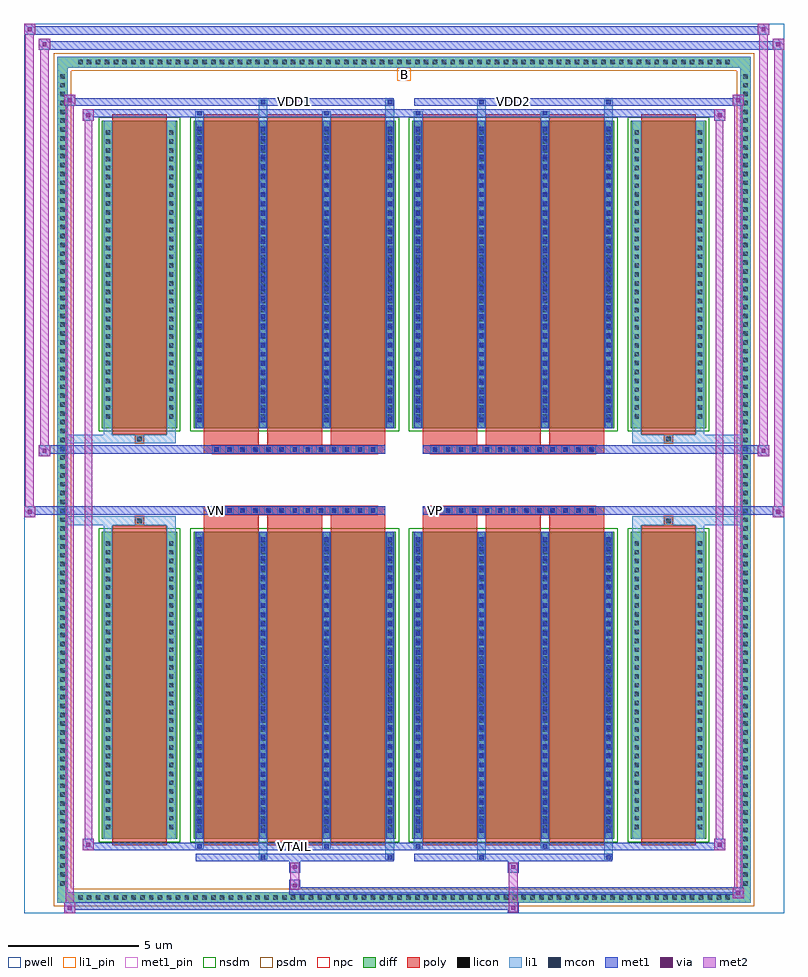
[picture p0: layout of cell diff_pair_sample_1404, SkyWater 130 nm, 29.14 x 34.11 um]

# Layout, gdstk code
import gdstk
lib = gdstk.Library(unit=1e-6, precision=5e-09)
def R(c, l, rs):  # rectangles x0, y0, x1, y1
    for r in rs: c.add(gdstk.rectangle(r[:2], r[2:], *l))
def A(c, l, x, y, w, h, nx, ny, dx, dy):  # array of equal rectangles
    R(c, l, [(x+i*dx, y+j*dy, x+i*dx+w, y+j*dy+h) for i in range(nx) for j in range(ny)])
def P(c, l, *ps):  # polygons
    for p in ps: c.add(gdstk.Polygon(p, *l))
pwell = (64, 44)
diff = (65, 20)
poly = (66, 20)
licon = (66, 44)
li1_pin = (67, 16)
li1 = (67, 20)
mcon = (67, 44)
met1_pin = (68, 16)
met1 = (68, 20)
via = (68, 44)
met2 = (69, 20)
nsdm = (93, 44)
psdm = (94, 20)
npc = (95, 20)

diff_pair_sample_1404 = lib.new_cell('diff_pair_sample_1404')
R(diff_pair_sample_1404, pwell, [(-14.57,-16.62,14.57,17.49), (-11.89,-14.81,-0.01,-0.805), (0.01,-14.81,11.89,-0.805), (-11.89,0.805,-0.01,14.81), (0.01,0.805,11.89,14.81)])
A(diff_pair_sample_1404, diff, -12.615, -16.22, 0.41, 0.41, 74, 2, 0.34, 32.03)
A(diff_pair_sample_1404, diff, -13.3, -15.675, 0.41, 0.41, 1, 92, 0, 0.34)
A(diff_pair_sample_1404, diff, 12.89, -15.675, 0.41, 0.41, 1, 92, 0, 0.34)
R(diff_pair_sample_1404, diff, [(-12.615,-16.22,12.615,-15.81), (-13.3,-15.675,-12.89,15.675), (12.89,-15.675,13.3,15.675), (-11.58,-13.765,-8.7,-1.985), (-8.06,-13.765,-0.32,-1.985), (0.32,-13.765,8.06,-1.985), (8.7,-13.765,11.58,-1.985), (-11.58,1.985,-8.7,13.765), (-8.06,1.985,-0.32,13.765), (0.32,1.985,8.06,13.765), (8.7,1.985,11.58,13.765), (-12.615,15.81,12.615,16.22)])
P(diff_pair_sample_1404, diff, [(13.3,16.22),(-13.3,16.22),(-13.3,-15.81),(-12.89,-15.81),(-12.89,15.81),(12.89,15.81),(12.89,-15.81),(-12.89,-15.81),(-13.3,-15.81),(-13.3,-16.22),(13.3,-16.22)])
A(diff_pair_sample_1404, poly, -7.67, -14.015, 2.1, 12.28, 3, 2, 2.43, 15.75)
A(diff_pair_sample_1404, poly, 0.71, -14.015, 2.1, 12.28, 3, 2, 2.43, 15.75)
A(diff_pair_sample_1404, poly, -7.67, -1.735, 2.1, 0.4, 3, 2, 2.43, 3.07)
A(diff_pair_sample_1404, poly, 0.71, -1.735, 2.1, 0.4, 3, 2, 2.43, 3.07)
A(diff_pair_sample_1404, poly, -7.355, -1.335, 0.33, 0.33, 13, 2, 0.5, 2.34)
A(diff_pair_sample_1404, poly, 1.025, -1.335, 0.33, 0.33, 13, 2, 0.5, 2.34)
R(diff_pair_sample_1404, poly, [(-11.19,-14.015,-9.09,-1.735), (9.09,-14.015,11.19,-1.735), (-10.305,-1.735,-9.975,-1.405), (-10.305,-1.735,-9.975,-1.405), (9.975,-1.735,10.305,-1.405), (9.975,-1.735,10.305,-1.405), (-7.67,-1.335,-0.71,-1.005), (0.71,-1.335,7.67,-1.005), (-7.67,1.005,-0.71,1.335), (0.71,1.005,7.67,1.335), (-10.305,1.405,-9.975,1.735), (-10.305,1.405,-9.975,1.735), (9.975,1.405,10.305,1.735), (9.975,1.405,10.305,1.735), (-11.19,1.735,-9.09,14.015), (9.09,1.735,11.19,14.015)])
A(diff_pair_sample_1404, licon, -12.495, -16.1, 0.17, 0.17, 74, 2, 0.34, 32.03)
A(diff_pair_sample_1404, licon, -13.18, -15.555, 0.17, 0.17, 1, 92, 0, 0.34)
A(diff_pair_sample_1404, licon, 13.01, -15.555, 0.17, 0.17, 1, 92, 0, 0.34)
A(diff_pair_sample_1404, licon, -11.44, -13.4, 0.17, 0.17, 1, 33, 0, 0.34)
A(diff_pair_sample_1404, licon, -9.01, -13.4, 0.17, 0.17, 1, 33, 0, 0.34)
A(diff_pair_sample_1404, licon, -7.92, -13.4, 0.17, 0.17, 4, 33, 2.43, 0.34)
A(diff_pair_sample_1404, licon, 0.46, -13.4, 0.17, 0.17, 4, 33, 2.43, 0.34)
A(diff_pair_sample_1404, licon, 8.84, -13.4, 0.17, 0.17, 1, 33, 0, 0.34)
A(diff_pair_sample_1404, licon, 11.27, -13.4, 0.17, 0.17, 1, 33, 0, 0.34)
A(diff_pair_sample_1404, licon, -7.275, -1.255, 0.17, 0.17, 13, 2, 0.5, 2.34)
A(diff_pair_sample_1404, licon, 1.105, -1.255, 0.17, 0.17, 13, 2, 0.5, 2.34)
A(diff_pair_sample_1404, licon, -11.44, 2.35, 0.17, 0.17, 1, 33, 0, 0.34)
A(diff_pair_sample_1404, licon, -9.01, 2.35, 0.17, 0.17, 1, 33, 0, 0.34)
A(diff_pair_sample_1404, licon, -7.92, 2.35, 0.17, 0.17, 4, 33, 2.43, 0.34)
A(diff_pair_sample_1404, licon, 0.46, 2.35, 0.17, 0.17, 4, 33, 2.43, 0.34)
A(diff_pair_sample_1404, licon, 8.84, 2.35, 0.17, 0.17, 1, 33, 0, 0.34)
A(diff_pair_sample_1404, licon, 11.27, 2.35, 0.17, 0.17, 1, 33, 0, 0.34)
R(diff_pair_sample_1404, licon, [(-10.225,-1.655,-10.055,-1.485), (10.055,-1.655,10.225,-1.485), (-10.225,1.485,-10.055,1.655), (10.055,1.485,10.225,1.655)])
R(diff_pair_sample_1404, li1_pin, [(-0.25,15.31,0.25,15.81)])
A(diff_pair_sample_1404, li1, -12.575, -16.18, 0.33, 0.33, 74, 2, 0.34, 32.03)
A(diff_pair_sample_1404, li1, -13.26, -15.635, 0.33, 0.33, 1, 92, 0, 0.34)
A(diff_pair_sample_1404, li1, 12.93, -15.635, 0.33, 0.33, 1, 92, 0, 0.34)
A(diff_pair_sample_1404, li1, -8, -13.765, 0.33, 11.78, 4, 2, 2.43, 15.75)
A(diff_pair_sample_1404, li1, 0.38, -13.765, 0.33, 11.78, 4, 2, 2.43, 15.75)
A(diff_pair_sample_1404, li1, -7.92, -13.54, 0.17, 0.17, 4, 32, 2.43, 0.36)
A(diff_pair_sample_1404, li1, -7.92, -13.54, 0.17, 11.33, 4, 2, 2.43, 15.75)
A(diff_pair_sample_1404, li1, 0.46, -13.54, 0.17, 0.17, 4, 32, 2.43, 0.36)
A(diff_pair_sample_1404, li1, 0.46, -13.54, 0.17, 11.33, 4, 2, 2.43, 15.75)
A(diff_pair_sample_1404, li1, -11.52, -13.48, 0.33, 0.33, 1, 33, 0, 0.34)
A(diff_pair_sample_1404, li1, -9.09, -13.48, 0.33, 0.33, 1, 33, 0, 0.34)
A(diff_pair_sample_1404, li1, -8, -13.48, 0.33, 0.33, 4, 33, 2.43, 0.34)
A(diff_pair_sample_1404, li1, 0.38, -13.48, 0.33, 0.33, 4, 33, 2.43, 0.34)
A(diff_pair_sample_1404, li1, 8.76, -13.48, 0.33, 0.33, 1, 33, 0, 0.34)
A(diff_pair_sample_1404, li1, 11.19, -13.48, 0.33, 0.33, 1, 33, 0, 0.34)
A(diff_pair_sample_1404, li1, -7.355, -1.335, 0.33, 0.33, 13, 2, 0.5, 2.34)
A(diff_pair_sample_1404, li1, 1.025, -1.335, 0.33, 0.33, 13, 2, 0.5, 2.34)
A(diff_pair_sample_1404, li1, -7.92, 2.21, 0.17, 0.17, 4, 32, 2.43, 0.36)
A(diff_pair_sample_1404, li1, 0.46, 2.21, 0.17, 0.17, 4, 32, 2.43, 0.36)
A(diff_pair_sample_1404, li1, -11.52, 2.27, 0.33, 0.33, 1, 33, 0, 0.34)
A(diff_pair_sample_1404, li1, -9.09, 2.27, 0.33, 0.33, 1, 33, 0, 0.34)
A(diff_pair_sample_1404, li1, -8, 2.27, 0.33, 0.33, 4, 33, 2.43, 0.34)
A(diff_pair_sample_1404, li1, 0.38, 2.27, 0.33, 0.33, 4, 33, 2.43, 0.34)
A(diff_pair_sample_1404, li1, 8.76, 2.27, 0.33, 0.33, 1, 33, 0, 0.34)
A(diff_pair_sample_1404, li1, 11.19, 2.27, 0.33, 0.33, 1, 33, 0, 0.34)
R(diff_pair_sample_1404, li1, [(-13.3,-16.22,-12.89,-15.81), (-13.3,-16.22,-12.89,-15.81), (-12.89,-16.22,12.89,-15.81), (12.89,-16.22,13.3,-15.81), (12.89,-16.22,13.3,-15.81), (-13.3,-15.81,-12.89,15.81), (12.89,-15.81,13.3,15.81), (-5.57,-14.57,-5.24,-13.765), (-5.49,-14.57,-5.32,-14.4), (-0.71,-14.57,-0.38,-13.765), (-0.63,-14.57,-0.46,-14.4), (2.81,-14.57,3.14,-13.765), (2.89,-14.57,3.06,-14.4), (7.67,-14.57,8,-13.765), (7.75,-14.57,7.92,-14.4), (-8,-14.14,-7.67,-13.765), (-7.92,-14.14,-7.75,-13.97), (-3.14,-14.14,-2.81,-13.765), (-3.06,-14.14,-2.89,-13.97), (0.38,-14.14,0.71,-13.765), (0.46,-14.14,0.63,-13.97), (5.24,-14.14,5.57,-13.765), (5.32,-14.14,5.49,-13.97), (-11.52,-13.765,-11.19,-1.985), (-9.09,-13.765,-8.76,-1.985), (8.76,-13.765,9.09,-1.985), (11.19,-13.765,11.52,-1.985), (-11.52,-1.985,-11.19,-1.405), (-9.09,-1.985,-8.76,-1.405), (8.76,-1.985,9.09,-1.405), (11.19,-1.985,11.52,-1.405), (-13.3,-1.735,-10.305,-1.405), (-11.52,-1.735,-10.305,-1.405), (-10.305,-1.735,-9.975,-1.405), (-9.975,-1.735,-8.76,-1.405), (8.76,-1.735,9.975,-1.405), (9.975,-1.735,10.305,-1.405), (9.975,-1.735,13.3,-1.405), (10.305,-1.735,11.52,-1.405), (-13.3,1.405,-10.305,1.735), (-11.52,1.405,-10.305,1.735), (-11.52,1.405,-11.19,1.985), (-10.305,1.405,-9.975,1.735), (-9.975,1.405,-8.76,1.735), (-9.09,1.405,-8.76,1.985), (8.76,1.405,9.975,1.735), (8.76,1.405,9.09,1.985), (9.975,1.405,10.305,1.735), (9.975,1.405,13.3,1.735), (10.305,1.405,11.52,1.735), (11.19,1.405,11.52,1.985), (-11.52,1.985,-11.19,13.765), (-9.09,1.985,-8.76,13.765), (8.76,1.985,9.09,13.765), (11.19,1.985,11.52,13.765), (-8,13.765,-7.67,14.14), (-5.57,13.765,-5.24,14.57), (-3.14,13.765,-2.81,14.14), (-0.71,13.765,-0.38,14.57), (0.38,13.765,0.71,14.14), (2.81,13.765,3.14,14.57), (5.24,13.765,5.57,14.14), (7.67,13.765,8,14.57), (-7.92,13.97,-7.75,14.14), (-3.06,13.97,-2.89,14.14), (0.46,13.97,0.63,14.14), (5.32,13.97,5.49,14.14), (-5.49,14.4,-5.32,14.57), (-0.63,14.4,-0.46,14.57), (2.89,14.4,3.06,14.57), (7.75,14.4,7.92,14.57), (-13.3,15.81,-12.89,16.22), (-13.3,15.81,-12.89,16.22), (-12.89,15.81,12.89,16.22), (12.89,15.81,13.3,16.22), (12.89,15.81,13.3,16.22)])
A(diff_pair_sample_1404, mcon, -7.92, -13.54, 0.17, 0.17, 4, 32, 2.43, 0.36)
A(diff_pair_sample_1404, mcon, 0.46, -13.54, 0.17, 0.17, 4, 32, 2.43, 0.36)
A(diff_pair_sample_1404, mcon, -7.275, -1.255, 0.17, 0.17, 13, 2, 0.5, 2.34)
A(diff_pair_sample_1404, mcon, 1.105, -1.255, 0.17, 0.17, 13, 2, 0.5, 2.34)
A(diff_pair_sample_1404, mcon, -7.92, 2.21, 0.17, 0.17, 4, 32, 2.43, 0.36)
A(diff_pair_sample_1404, mcon, 0.46, 2.21, 0.17, 0.17, 4, 32, 2.43, 0.36)
R(diff_pair_sample_1404, mcon, [(-5.49,-14.57,-5.32,-14.4), (-0.63,-14.57,-0.46,-14.4), (2.89,-14.57,3.06,-14.4), (7.75,-14.57,7.92,-14.4), (-7.92,-14.14,-7.75,-13.97), (-3.06,-14.14,-2.89,-13.97), (0.46,-14.14,0.63,-13.97), (5.32,-14.14,5.49,-13.97), (-7.92,13.97,-7.75,14.14), (-3.06,13.97,-2.89,14.14), (0.46,13.97,0.63,14.14), (5.32,13.97,5.49,14.14), (-5.49,14.4,-5.32,14.57), (-0.63,14.4,-0.46,14.57), (2.89,14.4,3.06,14.57), (7.75,14.4,7.92,14.57)])
R(diff_pair_sample_1404, met1_pin, [(-4.325,-14.18,-4.055,-13.91), (-7.325,-1.295,-7.055,-1.025), (1.055,-1.295,1.325,-1.025), (-4.325,14.36,-4.055,14.63), (4.055,14.36,4.325,14.63)])
A(diff_pair_sample_1404, met1, -7.98, -13.765, 0.29, 11.78, 4, 2, 2.43, 15.75)
A(diff_pair_sample_1404, met1, 0.4, -13.765, 0.29, 11.78, 4, 2, 2.43, 15.75)
A(diff_pair_sample_1404, met1, -7.98, -13.6, 0.29, 0.29, 4, 32, 2.43, 0.36)
A(diff_pair_sample_1404, met1, 0.4, -13.6, 0.29, 0.29, 4, 32, 2.43, 0.36)
A(diff_pair_sample_1404, met1, -7.335, -1.315, 0.29, 0.29, 13, 2, 0.5, 2.34)
A(diff_pair_sample_1404, met1, 1.045, -1.315, 0.29, 0.29, 13, 2, 0.5, 2.34)
A(diff_pair_sample_1404, met1, -7.98, 2.15, 0.29, 0.29, 4, 32, 2.43, 0.36)
A(diff_pair_sample_1404, met1, 0.4, 2.15, 0.29, 0.29, 4, 32, 2.43, 0.36)
R(diff_pair_sample_1404, met1, [(-13.03,-16.62,-12.6,-16.19), (3.975,-16.62,4.405,-16.19), (-13.03,-16.48,4.405,-16.19), (12.6,-16.05,13.03,-15.62), (-4.405,-15.91,13.03,-15.62), (-4.405,-15.77,-3.975,-15.34), (-4.405,-15.06,-3.975,-14.63), (3.975,-15.06,4.405,-14.63), (-7.98,-14.63,-0.4,-14.34), (-5.55,-14.63,-5.26,-14.34), (-0.69,-14.63,-0.4,-14.34), (0.4,-14.63,7.98,-14.34), (2.83,-14.63,3.12,-14.34), (7.69,-14.63,7.98,-14.34), (-12.32,-14.2,-11.89,-13.77), (-12.32,-14.2,-7.98,-13.91), (-7.98,-14.2,-7.69,-13.91), (-7.98,-14.2,-0.4,-13.91), (-3.12,-14.2,-2.83,-13.91), (-0.4,-14.2,0.4,-13.91), (0.4,-14.2,0.69,-13.91), (0.4,-14.2,7.98,-13.91), (5.26,-14.2,5.55,-13.91), (7.98,-14.2,12.32,-13.91), (11.89,-14.2,12.32,-13.77), (-14.57,-1.435,-14.14,-1.005), (14.14,-1.435,14.57,-1.005), (-14.57,-1.335,-0.71,-1.005), (-7.67,-1.335,-0.71,-1.005), (0.71,-1.335,7.67,-1.005), (0.71,-1.335,14.57,-1.005), (-14,0.905,-13.57,1.335), (13.57,0.905,14,1.335), (-14,1.005,-7.67,1.335), (-7.67,1.005,-0.71,1.335), (0.71,1.005,7.67,1.335), (7.67,1.005,14,1.335), (-12.32,13.77,-11.89,14.2), (11.89,13.77,12.32,14.2), (-12.32,13.91,-7.98,14.2), (-7.98,13.91,-7.69,14.2), (-7.98,13.91,-0.4,14.2), (-3.12,13.91,-2.83,14.2), (-0.4,13.91,0.4,14.2), (0.4,13.91,0.69,14.2), (0.4,13.91,7.98,14.2), (5.26,13.91,5.55,14.2), (7.98,13.91,12.32,14.2), (-13.03,14.34,-12.6,14.77), (-13.03,14.34,-7.98,14.63), (-7.98,14.34,-0.4,14.63), (-5.55,14.34,-5.26,14.63), (-0.69,14.34,-0.4,14.63), (0.4,14.34,7.98,14.63), (2.83,14.34,3.12,14.63), (7.69,14.34,7.98,14.63), (7.98,14.34,13.03,14.63), (12.6,14.34,13.03,14.77), (-14,16.49,-13.57,16.92), (-14,16.49,-11.89,16.82), (-11.89,16.49,11.89,16.82), (11.89,16.49,14.57,16.82), (14.14,16.49,14.57,16.92), (-14.57,17.06,-14.14,17.49), (-14.57,17.06,-11.89,17.39), (-11.89,17.06,11.89,17.39), (11.89,17.06,14,17.39), (13.57,17.06,14,17.49)])
R(diff_pair_sample_1404, via, [(-12.89,-16.48,-12.74,-16.33), (4.115,-16.48,4.265,-16.33), (12.74,-15.91,12.89,-15.76), (-4.265,-15.63,-4.115,-15.48), (-4.265,-14.92,-4.115,-14.77), (4.115,-14.92,4.265,-14.77), (-12.18,-14.06,-12.03,-13.91), (12.03,-14.06,12.18,-13.91), (-14.43,-1.295,-14.28,-1.145), (14.28,-1.295,14.43,-1.145), (-13.86,1.045,-13.71,1.195), (13.71,1.045,13.86,1.195), (-12.18,13.91,-12.03,14.06), (12.03,13.91,12.18,14.06), (-12.89,14.48,-12.74,14.63), (12.74,14.48,12.89,14.63), (-13.86,16.63,-13.71,16.78), (14.28,16.63,14.43,16.78), (-14.43,17.2,-14.28,17.35), (13.71,17.2,13.86,17.35)])
R(diff_pair_sample_1404, met2, [(-13.03,-16.62,-12.6,-16.19), (-12.96,-16.62,-12.67,14.77), (-12.67,-16.62,-12.6,-16.19), (-12.98,-16.57,-12.65,-16.24), (4.025,-16.57,4.355,-16.24), (4.025,-16.24,4.355,-15.01), (12.6,-16.05,13.03,-15.62), (12.67,-16.05,12.96,14.77), (12.96,-16.05,13.03,-15.62), (12.65,-16,12.98,-15.67), (-4.355,-15.72,-4.025,-15.39), (-4.355,-15.39,-4.025,-15.01), (-4.355,-15.01,-4.025,-14.68), (4.025,-15.01,4.355,-14.68), (-12.32,-14.2,-11.89,-13.77), (-12.25,-14.2,-11.96,14.2), (-11.96,-14.2,-11.89,-13.77), (11.89,-14.2,12.32,-13.77), (11.96,-14.2,12.25,14.2), (12.25,-14.2,12.32,-13.77), (-12.27,-14.15,-11.94,-13.82), (11.94,-14.15,12.27,-13.82), (-14.57,-1.435,-14.14,-1.005), (-14.52,-1.435,-14.19,17.49), (-14.19,-1.435,-14.14,-1.005), (14.14,-1.435,14.57,-1.005), (14.19,-1.435,14.52,16.92), (14.52,-1.435,14.57,-1.005), (-14.52,-1.385,-14.19,-1.055), (14.19,-1.385,14.52,-1.055), (-14,0.905,-13.57,1.335), (-13.95,0.905,-13.62,16.92), (-13.62,0.905,-13.57,1.335), (13.57,0.905,14,1.335), (13.62,0.905,13.95,17.49), (13.95,0.905,14,1.335), (-13.95,0.955,-13.62,1.285), (13.62,0.955,13.95,1.285), (-12.32,13.77,-11.89,14.2), (-11.96,13.77,-11.89,14.2), (11.89,13.77,12.32,14.2), (12.25,13.77,12.32,14.2), (-12.27,13.82,-11.94,14.15), (11.94,13.82,12.27,14.15), (-13.03,14.34,-12.6,14.77), (-12.67,14.34,-12.6,14.77), (12.6,14.34,13.03,14.77), (12.96,14.34,13.03,14.77), (-12.98,14.39,-12.65,14.72), (12.65,14.39,12.98,14.72), (-14,16.49,-13.57,16.92), (-13.62,16.49,-13.57,16.92), (14.14,16.49,14.57,16.92), (14.52,16.49,14.57,16.92), (-13.95,16.54,-13.62,16.87), (14.19,16.54,14.52,16.87), (-14.57,17.06,-14.14,17.49), (-14.19,17.06,-14.14,17.49), (13.57,17.06,14,17.49), (13.95,17.06,14,17.49), (-14.52,17.11,-14.19,17.44), (13.62,17.11,13.95,17.44)])
R(diff_pair_sample_1404, nsdm, [(-11.71,-13.895,-8.57,-1.855), (-8.19,-13.895,-0.19,-1.855), (0.19,-13.895,8.19,-1.855), (8.57,-13.895,11.71,-1.855), (-11.71,1.855,-8.57,13.895), (-8.19,1.855,-0.19,13.895), (0.19,1.855,8.19,13.895), (8.57,1.855,11.71,13.895)])
P(diff_pair_sample_1404, psdm, [(13.43,16.35),(-13.43,16.35),(-13.43,-15.68),(-12.76,-15.68),(-12.76,15.68),(12.76,15.68),(12.76,-15.68),(-12.76,-15.68),(-13.43,-15.68),(-13.43,-16.35),(13.43,-16.35)])
A(diff_pair_sample_1404, npc, -7.375, -1.355, 0.37, 0.37, 13, 2, 0.5, 2.34)
A(diff_pair_sample_1404, npc, 1.005, -1.355, 0.37, 0.37, 13, 2, 0.5, 2.34)
R(diff_pair_sample_1404, npc, [(-10.325,-1.755,-9.955,-1.385), (9.955,-1.755,10.325,-1.385), (-7.375,-1.355,-6.505,-0.985), (-7.375,-1.355,-6.505,-0.985), (-6.875,-1.355,-6.005,-0.985), (-6.875,-1.355,-6.005,-0.985), (-6.375,-1.355,-5.505,-0.985), (-6.375,-1.355,-5.505,-0.985), (-5.875,-1.355,-5.005,-0.985), (-5.875,-1.355,-5.005,-0.985), (-5.375,-1.355,-4.505,-0.985), (-5.375,-1.355,-4.505,-0.985), (-4.875,-1.355,-4.005,-0.985), (-4.875,-1.355,-4.005,-0.985), (-4.375,-1.355,-3.505,-0.985), (-4.375,-1.355,-3.505,-0.985), (-3.875,-1.355,-3.005,-0.985), (-3.875,-1.355,-3.005,-0.985), (-3.375,-1.355,-2.505,-0.985), (-3.375,-1.355,-2.505,-0.985), (-2.875,-1.355,-2.005,-0.985), (-2.875,-1.355,-2.005,-0.985), (-2.375,-1.355,-1.505,-0.985), (-2.375,-1.355,-1.505,-0.985), (-1.875,-1.355,-1.005,-0.985), (-1.875,-1.355,-1.005,-0.985), (1.005,-1.355,1.875,-0.985), (1.005,-1.355,1.875,-0.985), (1.505,-1.355,2.375,-0.985), (1.505,-1.355,2.375,-0.985), (2.005,-1.355,2.875,-0.985), (2.005,-1.355,2.875,-0.985), (2.505,-1.355,3.375,-0.985), (2.505,-1.355,3.375,-0.985), (3.005,-1.355,3.875,-0.985), (3.005,-1.355,3.875,-0.985), (3.505,-1.355,4.375,-0.985), (3.505,-1.355,4.375,-0.985), (4.005,-1.355,4.875,-0.985), (4.005,-1.355,4.875,-0.985), (4.505,-1.355,5.375,-0.985), (4.505,-1.355,5.375,-0.985), (5.005,-1.355,5.875,-0.985), (5.005,-1.355,5.875,-0.985), (5.505,-1.355,6.375,-0.985), (5.505,-1.355,6.375,-0.985), (6.005,-1.355,6.875,-0.985), (6.005,-1.355,6.875,-0.985), (6.505,-1.355,7.375,-0.985), (6.505,-1.355,7.375,-0.985), (-7.375,0.985,-6.505,1.355), (-7.375,0.985,-6.505,1.355), (-6.875,0.985,-6.005,1.355), (-6.875,0.985,-6.005,1.355), (-6.375,0.985,-5.505,1.355), (-6.375,0.985,-5.505,1.355), (-5.875,0.985,-5.005,1.355), (-5.875,0.985,-5.005,1.355), (-5.375,0.985,-4.505,1.355), (-5.375,0.985,-4.505,1.355), (-4.875,0.985,-4.005,1.355), (-4.875,0.985,-4.005,1.355), (-4.375,0.985,-3.505,1.355), (-4.375,0.985,-3.505,1.355), (-3.875,0.985,-3.005,1.355), (-3.875,0.985,-3.005,1.355), (-3.375,0.985,-2.505,1.355), (-3.375,0.985,-2.505,1.355), (-2.875,0.985,-2.005,1.355), (-2.875,0.985,-2.005,1.355), (-2.375,0.985,-1.505,1.355), (-2.375,0.985,-1.505,1.355), (-1.875,0.985,-1.005,1.355), (-1.875,0.985,-1.005,1.355), (1.005,0.985,1.875,1.355), (1.005,0.985,1.875,1.355), (1.505,0.985,2.375,1.355), (1.505,0.985,2.375,1.355), (2.005,0.985,2.875,1.355), (2.005,0.985,2.875,1.355), (2.505,0.985,3.375,1.355), (2.505,0.985,3.375,1.355), (3.005,0.985,3.875,1.355), (3.005,0.985,3.875,1.355), (3.505,0.985,4.375,1.355), (3.505,0.985,4.375,1.355), (4.005,0.985,4.875,1.355), (4.005,0.985,4.875,1.355), (4.505,0.985,5.375,1.355), (4.505,0.985,5.375,1.355), (5.005,0.985,5.875,1.355), (5.005,0.985,5.875,1.355), (5.505,0.985,6.375,1.355), (5.505,0.985,6.375,1.355), (6.005,0.985,6.875,1.355), (6.005,0.985,6.875,1.355), (6.505,0.985,7.375,1.355), (6.505,0.985,7.375,1.355), (-10.325,1.385,-9.955,1.755), (9.955,1.385,10.325,1.755)])
diff_pair_sample_1404.add(gdstk.Label('VTAIL', (-4.19,-14.045), layer=68, texttype=5))
diff_pair_sample_1404.add(gdstk.Label('VN', (-7.19,-1.16), layer=68, texttype=5))
diff_pair_sample_1404.add(gdstk.Label('VP', (1.19,-1.16), layer=68, texttype=5))
diff_pair_sample_1404.add(gdstk.Label('B', (0,15.56), layer=67, texttype=5))
diff_pair_sample_1404.add(gdstk.Label('VDD2', (4.19,14.495), layer=68, texttype=5))
diff_pair_sample_1404.add(gdstk.Label('VDD1', (-4.19,14.495), layer=68, texttype=5))

lib.write_gds('diff_pair_sample_1404.gds')
